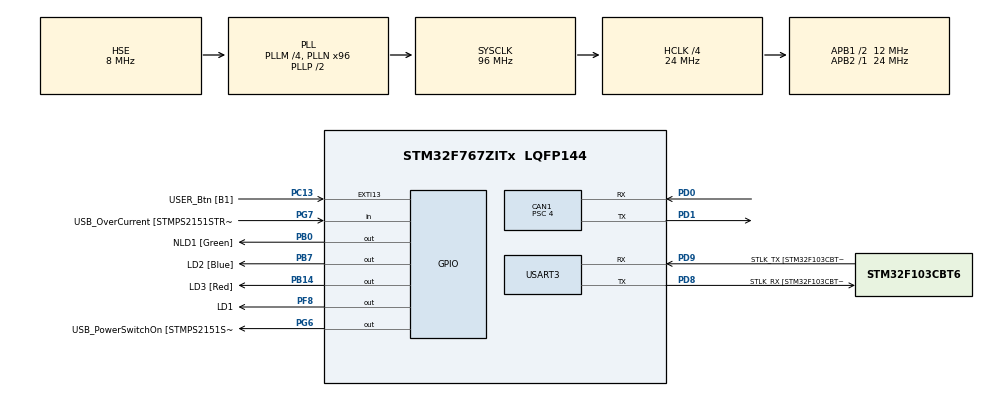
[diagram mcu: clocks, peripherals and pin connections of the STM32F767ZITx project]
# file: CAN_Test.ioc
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CAN1.BS1=CAN_BS1_2TQ
CAN1.BS2=CAN_BS2_3TQ
CAN1.CalculateBaudRate=500000
CAN1.CalculateTimeBit=2000
CAN1.CalculateTimeQuantum=333.3333333333333
CAN1.Prescaler=4
CAN1.SJW=CAN_SJW_2TQ
Mcu.Family=STM32F7
Mcu.Name=STM32F767ZITx
Mcu.Package=LQFP144
NVIC.PriorityGroup=NVIC_PRIORITYGROUP_4
NVIC.TIM2_IRQn=true\:0\:0\:false\:false\:true\:true\:true\:true
PA1.GPIO_Label=RMII_REF_CLK [LAN8742A-CZ-TR_REFCLK0]
PA1.Signal=ETH_REF_CLK
PA10.GPIO_Label=USB_ID
PA10.Signal=USB_OTG_FS_ID
PA11.GPIO_Label=USB_DM
PA11.Signal=USB_OTG_FS_DM
PA12.GPIO_Label=USB_DP
PA12.Signal=USB_OTG_FS_DP
PA13.GPIO_Label=TMS
PA13.Mode=Serial_Wire
PA13.Signal=SYS_JTMS-SWDIO
PA14.GPIO_Label=TCK
PA14.Mode=Serial_Wire
PA14.Signal=SYS_JTCK-SWCLK
PA2.GPIO_Label=RMII_MDIO [LAN8742A-CZ-TR_MDIO]
PA2.Signal=ETH_MDIO
PA7.GPIO_Label=RMII_CRS_DV [LAN8742A-CZ-TR_CRS_DV]
PA7.Signal=ETH_CRS_DV
PA8.GPIO_Label=USB_SOF [TP1]
PA8.Signal=USB_OTG_FS_SOF
PA9.GPIO_Label=USB_VBUS
PA9.Signal=USB_OTG_FS_VBUS
PB0.GPIO_Label=NLD1 [Green]
PB0.Signal=GPIO_Output
PB13.GPIO_Label=RMII_TXD1 [LAN8742A-CZ-TR_TXD1]
PB13.Signal=ETH_TXD1
PB14.GPIO_Label=LD3 [Red]
PB14.Signal=GPIO_Output
PB3.GPIO_Label=SWO
PB3.Signal=SYS_JTDO-SWO
PB7.GPIO_Label=LD2 [Blue]
PB7.Signal=GPIO_Output
PC1.GPIO_Label=RMII_MDC [LAN8742A-CZ-TR_MDC]
PC1.Signal=ETH_MDC
PC13.GPIO_Label=USER_Btn [B1]
PC13.Signal=GPXTI13
PC14/OSC32_IN.Mode=LSE-External-Oscillator
PC14/OSC32_IN.Signal=RCC_OSC32_IN
PC15/OSC32_OUT.Mode=LSE-External-Oscillator
PC15/OSC32_OUT.Signal=RCC_OSC32_OUT
PC4.GPIO_Label=RMII_RXD0 [LAN8742A-CZ-TR_RXD0]
PC4.Signal=ETH_RXD0
PC5.GPIO_Label=RMII_RXD1 [LAN8742A-CZ-TR_RXD1]
PC5.Signal=ETH_RXD1
PD0.GPIO_Mode=GPIO_MODE_AF_PP
PD0.GPIO_PuPd=GPIO_PULLUP
PD0.Mode=CAN_Activate
PD0.Signal=CAN1_RX
PD1.Mode=CAN_Activate
PD1.Signal=CAN1_TX
PD8.GPIO_Label=STLK_RX [STM32F103CBT6_PA3]
PD8.Mode=Asynchronous
PD8.Signal=USART3_TX
PD9.GPIO_Label=STLK_TX [STM32F103CBT6_PA2]
PD9.Mode=Asynchronous
PD9.Signal=USART3_RX
PF8.GPIO_Label=LD1
PF8.Signal=GPIO_Output
PG11.GPIO_Label=RMII_TX_EN [LAN8742A-CZ-TR_TXEN]
PG11.Signal=ETH_TX_EN
PG13.GPIO_Label=RMII_TXD0 [LAN8742A-CZ-TR_TXD0]
PG13.Signal=ETH_TXD0
PG6.GPIO_Label=USB_PowerSwitchOn [STMPS2151STR_EN]
PG6.Signal=GPIO_Output
PG7.GPIO_Label=USB_OverCurrent [STMPS2151STR_FAULT]
PG7.Signal=GPIO_Input
PH0/OSC_IN.GPIO_Label=MCO [STM32F103CBT6_PA8]
PH0/OSC_IN.Mode=HSE-External-Oscillator
PH0/OSC_IN.Signal=RCC_OSC_IN
PH1/OSC_OUT.Mode=HSE-External-Oscillator
PH1/OSC_OUT.Signal=RCC_OSC_OUT
ProjectManager.HeapSize=0x200
ProjectManager.StackSize=0x400
ProjectManager.TargetToolchain=STM32CubeIDE
RCC.48MHZClocksFreq_Value=24000000
RCC.AHBCLKDivider=RCC_SYSCLK_DIV4
RCC.AHBFreq_Value=24000000
RCC.APB1CLKDivider=RCC_HCLK_DIV2
RCC.APB1Freq_Value=12000000
RCC.APB1TimFreq_Value=24000000
RCC.APB2Freq_Value=24000000
RCC.APB2TimFreq_Value=24000000
RCC.CortexFreq_Value=24000000
RCC.HCLKFreq_Value=24000000
RCC.HSE_VALUE=8000000
RCC.HSI_VALUE=16000000
RCC.PLLM=4
RCC.PLLMUL=RCC_PLL_MUL9
RCC.PLLN=96
RCC.PLLQ=4
RCC.PLLSourceVirtual=RCC_PLLSOURCE_HSE
RCC.PRESCALERUSB=RCC_USBCLKSOURCE_PLL_DIV1_5
RCC.SYSCLKFreq_VALUE=96000000
RCC.SYSCLKSource=RCC_SYSCLKSOURCE_PLLCLK
RCC.SYSCLKSourceVirtual=RCC_SYSCLKSOURCE_PLLCLK
RCC.USBFreq_Value=48000000
RCC.VCOOutputFreq_Value=192000000
TIM2.ClockDivision=TIM_CLOCKDIVISION_DIV1
TIM2.Period=999
TIM2.Prescaler=24000
USART3.VirtualMode-Asynchronous=VM_ASYNC
VP_TIM2_VS_ClockSourceINT.Mode=Internal
board=NUCLEO-F767ZI

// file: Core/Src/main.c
/* USER CODE BEGIN Header */
/**
  ******************************************************************************
  * @file           : main.c
  * @brief          : Main program body
  ******************************************************************************
  * @attention
  *
  * Copyright (c) 2024 STMicroelectronics.
  * All rights reserved.
  *
  * This software is licensed under terms that can be found in the LICENSE file
  * in the root directory of this software component.
  * If no LICENSE file comes with this software, it is provided AS-IS.
  *
  ******************************************************************************
  */
/* USER CODE END Header */
#include "main.h"

/* USER CODE BEGIN Includes */
#include "can.h"
#include "sys_can_transmit.h"
/* USER CODE END Includes */

CAN_HandleTypeDef hcan1;

TIM_HandleTypeDef htim2;

UART_HandleTypeDef huart3;

/* USER CODE BEGIN PV */
int message_count = 0;
/* USER CODE END PV */

void SystemClock_Config(void);
static void MX_GPIO_Init(void);
static void MX_USART3_UART_Init(void);
static void MX_CAN1_Init(void);
static void MX_TIM2_Init(void);

/* USER CODE BEGIN 0 */
CAN_TxHeaderTypeDef TxHeader;
CAN_RxHeaderTypeDef RxHeader;

uint8_t TxData[8];
uint8_t RxData[8];

uint32_t TxMailbox;

int datacheck = 0;

void HAL_CAN_RxFifo1MsgPendingCallback(CAN_HandleTypeDef *hcan)
{
	HAL_CAN_GetRxMessage(hcan, CAN_RX_FIFO1, &RxHeader, RxData);
	if (RxHeader.DLC == 2)
	{
		datacheck = 1;
	}
}

/* USER CODE END 0 */

int main(void)
{

  /* MCU Configuration--------------------------------------------------------*/

  /* Reset of all peripherals, Initializes the Flash interface and the Systick. */
  HAL_Init();

  /* Configure the system clock */
  SystemClock_Config();

  /* Initialize all configured peripherals */
  MX_GPIO_Init();
  MX_USART3_UART_Init();
  MX_CAN1_Init();
  MX_TIM2_Init();
  /* USER CODE BEGIN 2 */

  HAL_TIM_Base_Start_IT(&htim2);
  HAL_CAN_Start(&hcan1);
  can_tx_init(&hcan1, &TxMailbox);

  // Activate the notification
//  HAL_CAN_ActivateNotification(&hcan1, CAN_IT_RX_FIFO1_MSG_PENDING);

  /* USER CODE END 2 */

  /* Infinite loop */

  while (1)
  {
    /* USER CODE END WHILE */

    /* USER CODE BEGIN 3 */
	  can_tx_refresh();
    /* USER CODE BEGIN 3 */
  }
  /* USER CODE END 3 */
}

void SystemClock_Config(void)
{
  RCC_OscInitTypeDef RCC_OscInitStruct = {0};
  RCC_ClkInitTypeDef RCC_ClkInitStruct = {0};

  /** Configure LSE Drive Capability
  */
  HAL_PWR_EnableBkUpAccess();

  /** Configure the main internal regulator output voltage
  */
  __HAL_RCC_PWR_CLK_ENABLE();
  __HAL_PWR_VOLTAGESCALING_CONFIG(PWR_REGULATOR_VOLTAGE_SCALE3);

  /** Initializes the RCC Oscillators according to the specified parameters
  * in the RCC_OscInitTypeDef structure.
  */
  RCC_OscInitStruct.OscillatorType = RCC_OSCILLATORTYPE_HSE;
  RCC_OscInitStruct.HSEState = RCC_HSE_ON;
  RCC_OscInitStruct.PLL.PLLState = RCC_PLL_ON;
  RCC_OscInitStruct.PLL.PLLSource = RCC_PLLSOURCE_HSE;
  RCC_OscInitStruct.PLL.PLLM = 4;
  RCC_OscInitStruct.PLL.PLLN = 96;
  RCC_OscInitStruct.PLL.PLLP = RCC_PLLP_DIV2;
  RCC_OscInitStruct.PLL.PLLQ = 4;
  RCC_OscInitStruct.PLL.PLLR = 2;
  if (HAL_RCC_OscConfig(&RCC_OscInitStruct) != HAL_OK)
  {
    Error_Handler();
  }

  /** Initializes the CPU, AHB and APB buses clocks
  */
  RCC_ClkInitStruct.ClockType = RCC_CLOCKTYPE_HCLK|RCC_CLOCKTYPE_SYSCLK
                              |RCC_CLOCKTYPE_PCLK1|RCC_CLOCKTYPE_PCLK2;
  RCC_ClkInitStruct.SYSCLKSource = RCC_SYSCLKSOURCE_PLLCLK;
  RCC_ClkInitStruct.AHBCLKDivider = RCC_SYSCLK_DIV4;
  RCC_ClkInitStruct.APB1CLKDivider = RCC_HCLK_DIV2;
  RCC_ClkInitStruct.APB2CLKDivider = RCC_HCLK_DIV1;

  if (HAL_RCC_ClockConfig(&RCC_ClkInitStruct, FLASH_LATENCY_0) != HAL_OK)
  {
    Error_Handler();
  }
}

static void MX_CAN1_Init(void)
{

  hcan1.Instance = CAN1;
  hcan1.Init.Prescaler = 4;
  hcan1.Init.Mode = CAN_MODE_NORMAL;
  hcan1.Init.SyncJumpWidth = CAN_SJW_2TQ;
  hcan1.Init.TimeSeg1 = CAN_BS1_2TQ;
  hcan1.Init.TimeSeg2 = CAN_BS2_3TQ;
  hcan1.Init.TimeTriggeredMode = DISABLE;
  hcan1.Init.AutoBusOff = DISABLE;
  hcan1.Init.AutoWakeUp = DISABLE;
  hcan1.Init.AutoRetransmission = DISABLE;
  hcan1.Init.ReceiveFifoLocked = DISABLE;
  hcan1.Init.TransmitFifoPriority = DISABLE;
  if (HAL_CAN_Init(&hcan1) != HAL_OK)
  {
    Error_Handler();
  }

}

static void MX_TIM2_Init(void)
{

  TIM_ClockConfigTypeDef sClockSourceConfig = {0};
  TIM_MasterConfigTypeDef sMasterConfig = {0};

  htim2.Instance = TIM2;
  htim2.Init.Prescaler = 24000;
  htim2.Init.CounterMode = TIM_COUNTERMODE_UP;
  htim2.Init.Period = 999;
  htim2.Init.ClockDivision = TIM_CLOCKDIVISION_DIV1;
  htim2.Init.AutoReloadPreload = TIM_AUTORELOAD_PRELOAD_DISABLE;
  if (HAL_TIM_Base_Init(&htim2) != HAL_OK)
  {
    Error_Handler();
  }
  sClockSourceConfig.ClockSource = TIM_CLOCKSOURCE_INTERNAL;
  if (HAL_TIM_ConfigClockSource(&htim2, &sClockSourceConfig) != HAL_OK)
  {
    Error_Handler();
  }
  sMasterConfig.MasterOutputTrigger = TIM_TRGO_RESET;
  sMasterConfig.MasterSlaveMode = TIM_MASTERSLAVEMODE_DISABLE;
  if (HAL_TIMEx_MasterConfigSynchronization(&htim2, &sMasterConfig) != HAL_OK)
  {
    Error_Handler();
  }

}

static void MX_USART3_UART_Init(void)
{

  huart3.Instance = USART3;
  huart3.Init.BaudRate = 115200;
  huart3.Init.WordLength = UART_WORDLENGTH_8B;
  huart3.Init.StopBits = UART_STOPBITS_1;
  huart3.Init.Parity = UART_PARITY_NONE;
  huart3.Init.Mode = UART_MODE_TX_RX;
  huart3.Init.HwFlowCtl = UART_HWCONTROL_NONE;
  huart3.Init.OverSampling = UART_OVERSAMPLING_16;
  huart3.Init.OneBitSampling = UART_ONE_BIT_SAMPLE_DISABLE;
  huart3.AdvancedInit.AdvFeatureInit = UART_ADVFEATURE_NO_INIT;
  if (HAL_UART_Init(&huart3) != HAL_OK)
  {
    Error_Handler();
  }

}

static void MX_GPIO_Init(void)
{
  GPIO_InitTypeDef GPIO_InitStruct = {0};

  /* GPIO Ports Clock Enable */
  __HAL_RCC_GPIOC_CLK_ENABLE();
  __HAL_RCC_GPIOF_CLK_ENABLE();
  __HAL_RCC_GPIOH_CLK_ENABLE();
  __HAL_RCC_GPIOA_CLK_ENABLE();
  __HAL_RCC_GPIOB_CLK_ENABLE();
  __HAL_RCC_GPIOD_CLK_ENABLE();
  __HAL_RCC_GPIOG_CLK_ENABLE();

  /*Configure GPIO pin Output Level */
  HAL_GPIO_WritePin(LD1_GPIO_Port, LD1_Pin, GPIO_PIN_RESET);

  /*Configure GPIO pin Output Level */
  HAL_GPIO_WritePin(GPIOB, NLD1_Pin|LD3_Pin|LD2_Pin, GPIO_PIN_RESET);

  /*Configure GPIO pin Output Level */
  HAL_GPIO_WritePin(USB_PowerSwitchOn_GPIO_Port, USB_PowerSwitchOn_Pin, GPIO_PIN_RESET);

  /*Configure GPIO pin : USER_Btn_Pin */
  GPIO_InitStruct.Pin = USER_Btn_Pin;
  GPIO_InitStruct.Mode = GPIO_MODE_IT_RISING;
  GPIO_InitStruct.Pull = GPIO_NOPULL;
  HAL_GPIO_Init(USER_Btn_GPIO_Port, &GPIO_InitStruct);

  /*Configure GPIO pin : LD1_Pin */
  GPIO_InitStruct.Pin = LD1_Pin;
  GPIO_InitStruct.Mode = GPIO_MODE_OUTPUT_PP;
  GPIO_InitStruct.Pull = GPIO_NOPULL;
  GPIO_InitStruct.Speed = GPIO_SPEED_FREQ_LOW;
  HAL_GPIO_Init(LD1_GPIO_Port, &GPIO_InitStruct);

  /*Configure GPIO pins : RMII_MDC_Pin RMII_RXD0_Pin RMII_RXD1_Pin */
  GPIO_InitStruct.Pin = RMII_MDC_Pin|RMII_RXD0_Pin|RMII_RXD1_Pin;
  GPIO_InitStruct.Mode = GPIO_MODE_AF_PP;
  GPIO_InitStruct.Pull = GPIO_NOPULL;
  GPIO_InitStruct.Speed = GPIO_SPEED_FREQ_VERY_HIGH;
  GPIO_InitStruct.Alternate = GPIO_AF11_ETH;
  HAL_GPIO_Init(GPIOC, &GPIO_InitStruct);

  /*Configure GPIO pins : RMII_REF_CLK_Pin RMII_MDIO_Pin RMII_CRS_DV_Pin */
  GPIO_InitStruct.Pin = RMII_REF_CLK_Pin|RMII_MDIO_Pin|RMII_CRS_DV_Pin;
  GPIO_InitStruct.Mode = GPIO_MODE_AF_PP;
  GPIO_InitStruct.Pull = GPIO_NOPULL;
  GPIO_InitStruct.Speed = GPIO_SPEED_FREQ_VERY_HIGH;
  GPIO_InitStruct.Alternate = GPIO_AF11_ETH;
  HAL_GPIO_Init(GPIOA, &GPIO_InitStruct);

  /*Configure GPIO pins : NLD1_Pin LD3_Pin LD2_Pin */
  GPIO_InitStruct.Pin = NLD1_Pin|LD3_Pin|LD2_Pin;
  GPIO_InitStruct.Mode = GPIO_MODE_OUTPUT_PP;
  GPIO_InitStruct.Pull = GPIO_NOPULL;
  GPIO_InitStruct.Speed = GPIO_SPEED_FREQ_LOW;
  HAL_GPIO_Init(GPIOB, &GPIO_InitStruct);

  /*Configure GPIO pin : RMII_TXD1_Pin */
  GPIO_InitStruct.Pin = RMII_TXD1_Pin;
  GPIO_InitStruct.Mode = GPIO_MODE_AF_PP;
  GPIO_InitStruct.Pull = GPIO_NOPULL;
  GPIO_InitStruct.Speed = GPIO_SPEED_FREQ_VERY_HIGH;
  GPIO_InitStruct.Alternate = GPIO_AF11_ETH;
  HAL_GPIO_Init(RMII_TXD1_GPIO_Port, &GPIO_InitStruct);

  /*Configure GPIO pin : USB_PowerSwitchOn_Pin */
  GPIO_InitStruct.Pin = USB_PowerSwitchOn_Pin;
  GPIO_InitStruct.Mode = GPIO_MODE_OUTPUT_PP;
  GPIO_InitStruct.Pull = GPIO_NOPULL;
  GPIO_InitStruct.Speed = GPIO_SPEED_FREQ_LOW;
  HAL_GPIO_Init(USB_PowerSwitchOn_GPIO_Port, &GPIO_InitStruct);

  /*Configure GPIO pin : USB_OverCurrent_Pin */
  GPIO_InitStruct.Pin = USB_OverCurrent_Pin;
  GPIO_InitStruct.Mode = GPIO_MODE_INPUT;
  GPIO_InitStruct.Pull = GPIO_NOPULL;
  HAL_GPIO_Init(USB_OverCurrent_GPIO_Port, &GPIO_InitStruct);

  /*Configure GPIO pins : USB_SOF_Pin USB_ID_Pin USB_DM_Pin USB_DP_Pin */
  GPIO_InitStruct.Pin = USB_SOF_Pin|USB_ID_Pin|USB_DM_Pin|USB_DP_Pin;
  GPIO_InitStruct.Mode = GPIO_MODE_AF_PP;
  GPIO_InitStruct.Pull = GPIO_NOPULL;
  GPIO_InitStruct.Speed = GPIO_SPEED_FREQ_VERY_HIGH;
  GPIO_InitStruct.Alternate = GPIO_AF10_OTG_FS;
  HAL_GPIO_Init(GPIOA, &GPIO_InitStruct);

  /*Configure GPIO pin : USB_VBUS_Pin */
  GPIO_InitStruct.Pin = USB_VBUS_Pin;
  GPIO_InitStruct.Mode = GPIO_MODE_INPUT;
  GPIO_InitStruct.Pull = GPIO_NOPULL;
  HAL_GPIO_Init(USB_VBUS_GPIO_Port, &GPIO_InitStruct);

  /*Configure GPIO pins : RMII_TX_EN_Pin RMII_TXD0_Pin */
  GPIO_InitStruct.Pin = RMII_TX_EN_Pin|RMII_TXD0_Pin;
  GPIO_InitStruct.Mode = GPIO_MODE_AF_PP;
  GPIO_InitStruct.Pull = GPIO_NOPULL;
  GPIO_InitStruct.Speed = GPIO_SPEED_FREQ_VERY_HIGH;
  GPIO_InitStruct.Alternate = GPIO_AF11_ETH;
  HAL_GPIO_Init(GPIOG, &GPIO_InitStruct);

}

void Error_Handler(void)
{
  __disable_irq();
  while (1)
  {
  }
}
